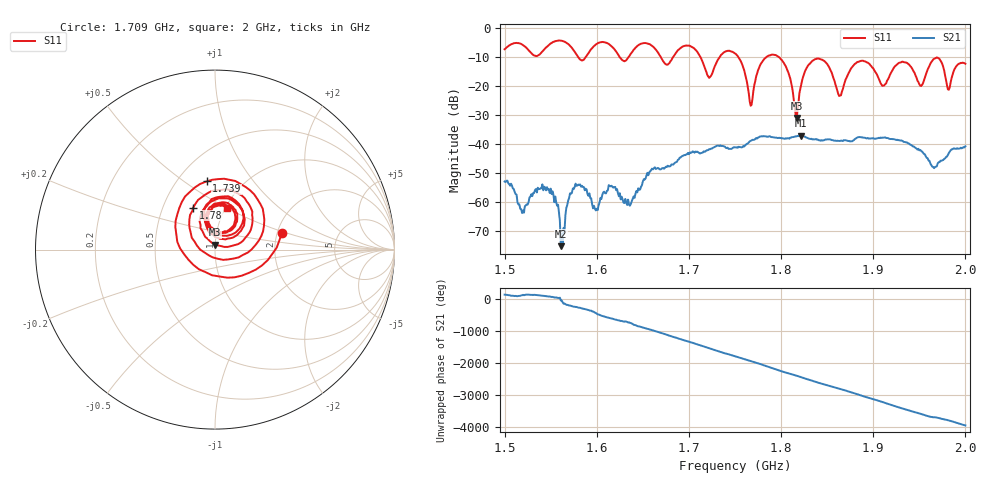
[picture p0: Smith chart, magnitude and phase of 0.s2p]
! NanoVNA-App by SYSJOINT et al v1.1.209 (+OD18)
! Date: 2026-01-21 14:17:13
! Start: 1,5GHz Stop: 2GHz Points: 501
! S-Parameter data: F S11 S21 S12 S22
# Hz S RI R 50
!  Frequency  S11_Real  S11_Imag  S21_Real  S21_Imag  S12_Real  S12_Imag  S22_Real  S22_Imag
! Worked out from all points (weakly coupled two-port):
!   501 points, 1.5 GHz to 2 GHz, reference 50 ohm
!   highest |S21| = -37.16 dB at 1.822 GHz (marker M1); lowest = -75.2 dB at 1.561 GHz (marker M2)
!   lowest |S11| = -31.1 dB at 1.817 GHz (marker M3), VSWR 1.06, Z = 49.9 + j2.79 ohm
!   |S11| at or under -10 dB: 1.712 GHz to 1.734 GHz (21.43 MHz wide, 1.24 % of centre); 1.753 GHz to 1.785 GHz (31.41 MHz wide, 1.78 % of centre); 1.797 GHz to end of sweep (the widest 3 of 6)
!   S12 and S22 are empty: the file has one direction only
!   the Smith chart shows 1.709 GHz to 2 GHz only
!   S11 on the Smith chart (normalised r, x): 1.709 GHz: 2.12, +0.46; 1.739 GHz: 0.69, +0.61; 1.78 GHz: 0.71, +0.36; 2 GHz: 1.02, +0.50
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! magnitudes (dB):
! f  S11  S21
! 1.5 GHz  -7.5  -53.0
! 1.519 GHz  -5.8  -63.8
! 1.548 GHz  -6.0  -55.6
! 1.561 GHz  -4.5  -75.2
! 1.584 GHz  -11.3  -54.4
! 1.635 GHz  -10.0  -60.9
! 1.667 GHz  -8.9  -48.3
! 1.709 GHz  -8.3  -42.7
! 1.722 GHz  -17.3  -41.8
! 1.739 GHz  -8.3  -40.9
! 1.75 GHz  -8.9  -41.2
! 1.767 GHz  -26.9  -39.0
! 1.78 GHz  -11.6  -37.5
! 1.803 GHz  -12.1  -38.2
! 1.817 GHz  -31.1  -37.4
! 1.822 GHz  -19.3  -37.2
! 1.834 GHz  -11.4  -38.5
! 1.863 GHz  -23.5  -39.0
! 1.885 GHz  -11.6  -37.7
! 1.917 GHz  -17.2  -38.2
! 1.966 GHz  -10.8  -48.4
! 2 GHz  -12.4  -40.8
